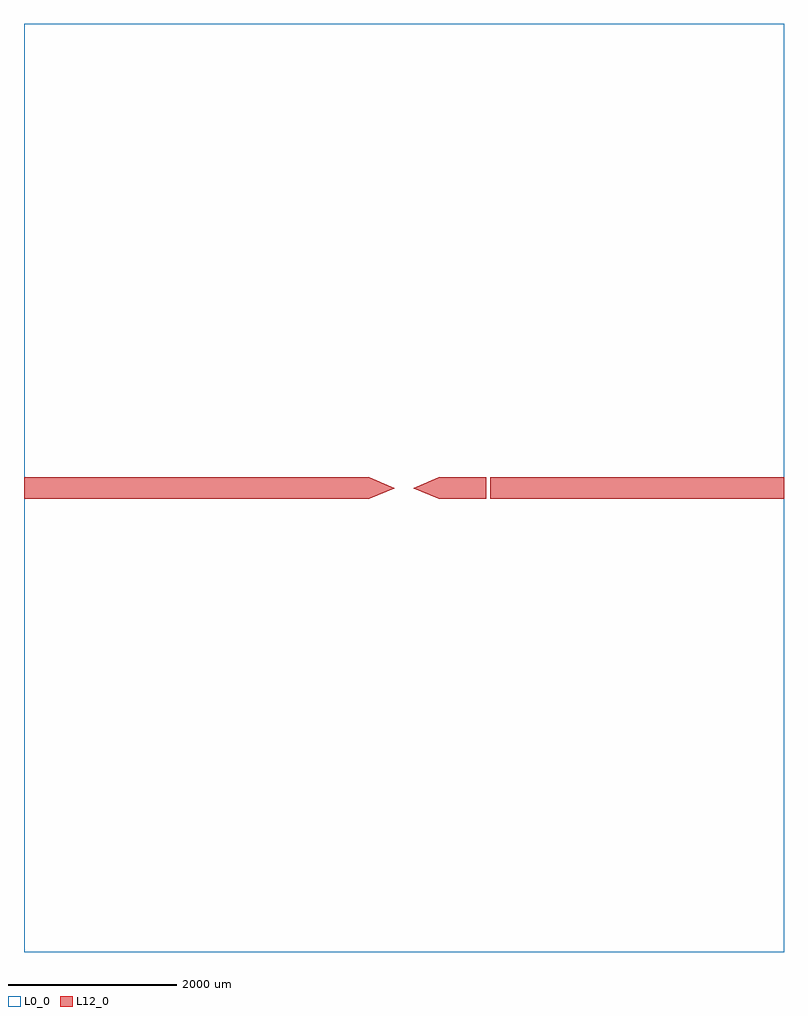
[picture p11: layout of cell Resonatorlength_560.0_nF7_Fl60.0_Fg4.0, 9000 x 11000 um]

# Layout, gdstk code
import gdstk
lib = gdstk.Library(unit=1e-6, precision=1e-09)
def R(c, l, rs):  # rectangles x0, y0, x1, y1
    for r in rs: c.add(gdstk.rectangle(r[:2], r[2:], *l))
def P(c, l, *ps):  # polygons
    for p in ps: c.add(gdstk.Polygon(p, *l))
L0_0 = (0, 0)
L12_0 = (12, 0)

resonatorlength_560_0_nf = lib.new_cell('Resonatorlength_560.0_nF7_Fl60.0_Fg4.0')
R(resonatorlength_560_0_nf, L0_0, [(-4500,-5500,4500,5500)])
R(resonatorlength_560_0_nf, L12_0, [(-4500,-125,-1036,125), (-1036,-125,-976,-92.714), (-972,-125,-412,125), (412,-125,972,125), (1022,-125,4500,125), (-1032,-88.714,-972,-56.429), (-1036,-52.429,-976,-20.143), (-1032,-16.143,-972,16.143), (-1036,20.143,-976,52.429), (-1032,56.429,-972,88.714), (-1036,92.714,-976,125)])
P(resonatorlength_560_0_nf, L12_0, [(-412,125),(-412,-125),(-108.5,0)],
  [(412,125),(412,-125),(108.5,0)])

lib.write_gds('Resonatorlength_560.0_nF7_Fl60.0_Fg4.0.gds')
